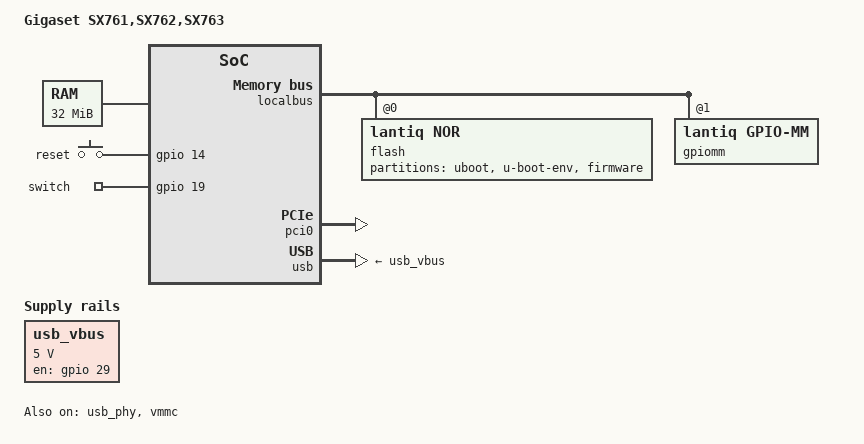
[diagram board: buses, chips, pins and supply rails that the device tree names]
#include "danube.dtsi"

#include <dt-bindings/input/input.h>

/ {
	compatible = "siemens,gigaset-sx76x", "lantiq,xway", "lantiq,danube";
	model = "Gigaset SX761,SX762,SX763";

	chosen {
		bootargs = "console=ttyLTQ0,115200";
	};

	memory@0 {
		device_type = "memory";
		reg = <0x0 0x2000000>;
	};

	keys {
		compatible = "gpio-keys-polled";
		poll-interval = <100>;

		reset {
			label = "reset";
			gpios = <&gpio 14 GPIO_ACTIVE_HIGH>;
			linux,code = <KEY_RESTART>;
		};
	};

	gpio_export {
		compatible = "gpio-export";
		#size-cells = <0>;

		switch {
			gpio-export,name = "switch";
			gpio-export,output = <1>;
			gpios = <&gpio 19 GPIO_ACTIVE_HIGH>;
		};
	};

	usb_vbus: regulator-usb-vbus {
		compatible = "regulator-fixed";

		regulator-name = "USB_VBUS";

		regulator-min-microvolt = <5000000>;
		regulator-max-microvolt = <5000000>;

		gpio = <&gpio 29 GPIO_ACTIVE_HIGH>;
		enable-active-high;
	};
};

&gpios {
	status = "okay";
};

&gsw {
	phy-mode = "rmii";
};

&localbus {
	flash@0 {
		compatible = "lantiq,nor";
		bank-width = <2>;
		reg = <0 0x0 0x2000000>;

		partitions {
			compatible = "fixed-partitions";
			#address-cells = <1>;
			#size-cells = <1>;

			partition@0 {
				label = "uboot";
				reg = <0x0 0x30000>;
			};

			partition@10000 {
				label = "u-boot-env";
				reg = <0x30000 0x10000>;
			};

			partition@40000 {
				label = "firmware";
				reg = <0x40000 0x7c0000>;
			};
		};
	};

	gpiomm: gpio@1 {
		compatible = "lantiq,gpio-mm";
		reg = <1 0x0 0x10 >;
		#address-cells = <1>;
		#size-cells = <1>;
		#gpio-cells = <2>;
		gpio-controller;
		lantiq,shadow = <0x3>;
	};
};

&pci0 {
	status = "okay";
	gpio-reset = <&gpio 21 GPIO_ACTIVE_HIGH>;
};

&usb_phy {
	status = "okay";
};

&usb {
	status = "okay";
	vbus-supply = <&usb_vbus>;
};

&vmmc {
	status = "okay";
	gpios = <&gpiomm 1 GPIO_ACTIVE_HIGH>;
};
